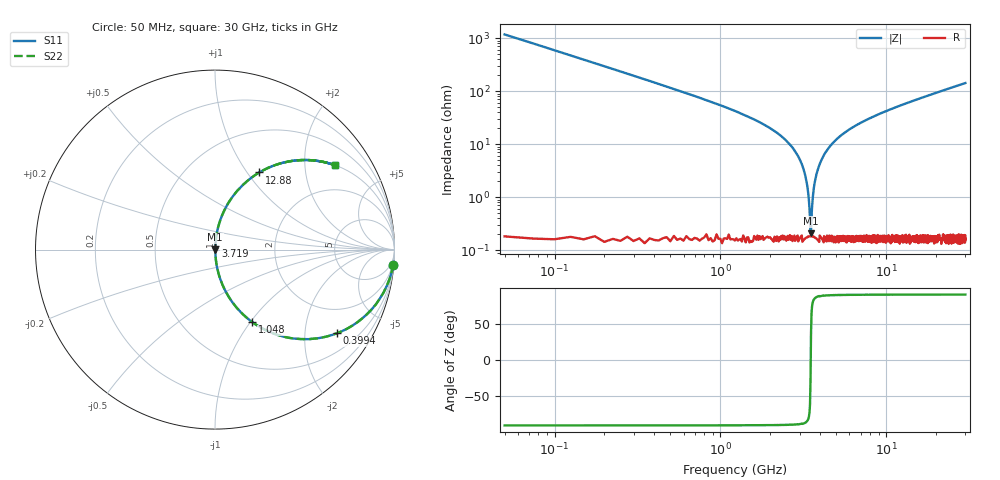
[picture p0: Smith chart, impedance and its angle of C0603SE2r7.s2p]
!	AVX Thin Film Operation 	Date: April 2014
!	Description: Accu-P® Series, Thin Film  SMD RF Capacitor
!	Part Number: 06031J2R7QBSTR
# MHZ S MA R 50
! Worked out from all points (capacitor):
!   1201 points, 50 MHz to 30 GHz, reference 50 ohm
!   read as one part in series: C = 2.7 pF near 199.8 MHz
!   lowest |Z| = 206 mohm at 3.494 GHz (marker M1)
!   series resonance near 3.504 GHz, so ESL is about 760 pH
!   S11 on the Smith chart (normalised r, x): 50 MHz: 1, -24; 399.4 MHz: 1.00, -2.91; 1.048 GHz: 1.00, -1.02; 3.719 GHz: 1.00, +0.04; 12.88 GHz: 1.00, +1.14; 30 GHz: 1.00, +2.84
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50  0.996 -4.8  0.085 85.1  0.085 85.1  0.996 -4.8
249.667  0.92 -23.1  0.392 66.9  0.392 66.9  0.92 -23.1
399.417  0.824 -34.4  0.566 55.5  0.566 55.5  0.824 -34.4
723.875  0.614 -52.0  0.788 37.9  0.788 37.9  0.614 -52.0
1048.333  0.455 -62.7  0.889 27.1  0.889 27.1  0.455 -62.7
1722.208  0.251 -75.1  0.966 14.5  0.966 14.5  0.251 -75.1
2845.333  0.07 -84.6  0.996 4.0  0.996 4.0  0.07 -84.6
3194.75  0.031 -85.2  0.998 1.8  0.998 1.8  0.031 -85.2
3394.417  0.011 -80.6  0.998 0.6  0.998 0.6  0.011 -80.6
3494.25  0.001905 -30.1  0.998 0.1  0.998 0.1  0.001905 -30.1
3594.083  0.008663 78.5  0.998 -0.5  0.998 -0.5  0.008663 78.5
3718.875  0.02 84.1  0.998 -1.1  0.998 -1.1  0.02 84.1
3893.583  0.035 85.3  0.998 -2.0  0.998 -2.0  0.035 85.3
4143.167  0.056 85.1  0.997 -3.2  0.997 -3.2  0.056 85.1
5041.667  0.124 82.1  0.991 -7.1  0.991 -7.1  0.124 82.1
6963.458  0.242 75.6  0.969 -14.0  0.969 -14.0  0.242 75.6
10058.29  0.39 66.8  0.919 -23.0  0.919 -23.0  0.39 66.8
12878.58  0.496 60.1  0.867 -29.7  0.867 -29.7  0.496 60.1
15025  0.563 55.6  0.825 -34.3  0.825 -34.3  0.563 55.6
20016.67  0.681 47.0  0.731 -42.9  0.731 -42.9  0.681 47.0
25033.29  0.762 40.3  0.647 -49.6  0.647 -49.6  0.762 40.3
30000  0.817 35.1  0.575 -54.8  0.575 -54.8  0.817 35.1
